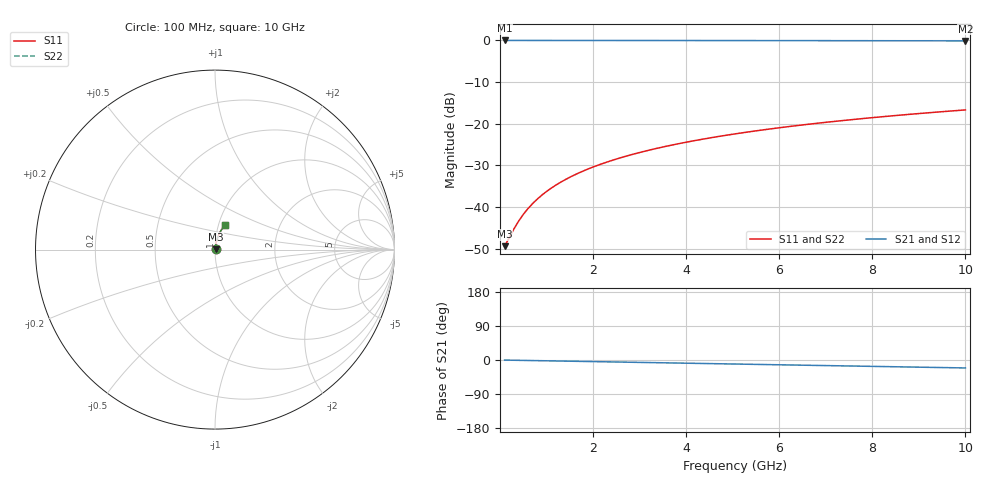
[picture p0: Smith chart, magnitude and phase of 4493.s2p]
# Hz S RI R 50.00
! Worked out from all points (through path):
!   100 points, 100 MHz to 10 GHz, reference 50 ohm
!   highest |S21| = -0.03 dB at 100 MHz (marker M1); lowest = -0.1 dB at 10 GHz (marker M2)
!   group delay of S21, straight-line fit = 5.83 ps
!   lowest |S11| = -49.4 dB at 100 MHz (marker M3), VSWR 1.01, Z = 50.3 + j0.15 ohm
!   |S11| at or under -10 dB: start of sweep to end of sweep
!   |S22| runs from -49.4 to -16.7 dB; largest |S21 - S12| = 0
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1e8  0.00304 0.00149  0.997 -0.00367  0.997 -0.00367  0.00304 0.00149
3e8  0.00312 0.00447  0.9969 -0.011  0.9969 -0.011  0.00312 0.00447
4e8  0.00317 0.00596  0.9968 -0.0147  0.9968 -0.0147  0.00317 0.00596
5e8  0.00323 0.00745  0.9967 -0.0183  0.9967 -0.0183  0.00323 0.00745
6e8  0.0033 0.00894  0.9966 -0.022  0.9966 -0.022  0.0033 0.00894
7e8  0.00337 0.0104  0.9965 -0.0257  0.9965 -0.0257  0.00337 0.0104
8e8  0.00346 0.0119  0.9964 -0.0293  0.9964 -0.0293  0.00346 0.0119
1e9  0.00367 0.0149  0.9961 -0.0366  0.9961 -0.0366  0.00367 0.0149
1.2e9  0.00392 0.0179  0.9957 -0.044  0.9957 -0.044  0.00392 0.0179
1.5e9  0.00438 0.0223  0.9951 -0.0549  0.9951 -0.0549  0.00438 0.0223
1.8e9  0.00493 0.0267  0.9943 -0.0659  0.9943 -0.0659  0.00493 0.0267
2.1e9  0.00558 0.0312  0.9933 -0.0768  0.9933 -0.0768  0.00558 0.0312
2.5e9  0.0066 0.037  0.9919 -0.0914  0.9919 -0.0914  0.0066 0.037
2.9e9  0.00779 0.0429  0.9902 -0.106  0.9902 -0.106  0.00779 0.0429
3.4e9  0.00951 0.0501  0.9877 -0.1241  0.9877 -0.1241  0.00951 0.0501
4.2e9  0.0128 0.0615  0.9829 -0.1529  0.9829 -0.1529  0.0128 0.0615
5.1e9  0.0173 0.0741  0.9764 -0.1851  0.9764 -0.1851  0.0173 0.0741
5.9e9  0.022 0.085  0.9696 -0.2135  0.9696 -0.2135  0.022 0.085
6.7e9  0.0273 0.0956  0.9618 -0.2415  0.9618 -0.2415  0.0273 0.0956
7.5e9  0.0332 0.1059  0.9532 -0.2692  0.9532 -0.2692  0.0332 0.1059
8.4e9  0.0406 0.1169  0.9423 -0.2999  0.9423 -0.2999  0.0406 0.1169
1e10  0.0554 0.1353  0.9204 -0.3531  0.9204 -0.3531  0.0554 0.1353
